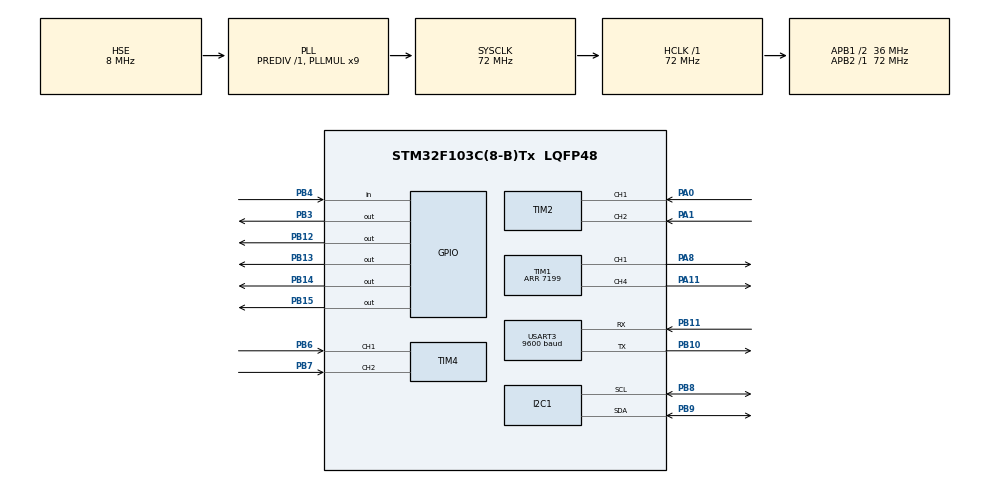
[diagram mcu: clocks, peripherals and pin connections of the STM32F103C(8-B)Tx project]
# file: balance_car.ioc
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I2C1.I2C_Mode=I2C_Fast
Mcu.Family=STM32F1
Mcu.Name=STM32F103C(8-B)Tx
Mcu.Package=LQFP48
NVIC.PriorityGroup=NVIC_PRIORITYGROUP_4
NVIC.TIM3_IRQn=true\:1\:0\:true\:false\:true\:true\:true\:true
NVIC.USART3_IRQn=true\:0\:0\:false\:false\:true\:true\:true\:true
PA0-WKUP.Signal=S_TIM2_CH1_ETR
PA1.Signal=S_TIM2_CH2
PA11.Signal=S_TIM1_CH4
PA13.Mode=Serial_Wire
PA13.Signal=SYS_JTMS-SWDIO
PA14.Mode=Serial_Wire
PA14.Signal=SYS_JTCK-SWCLK
PA8.Signal=S_TIM1_CH1
PB10.Mode=Asynchronous
PB10.Signal=USART3_TX
PB11.Mode=Asynchronous
PB11.Signal=USART3_RX
PB12.Signal=GPIO_Output
PB13.Signal=GPIO_Output
PB14.Signal=GPIO_Output
PB15.Signal=GPIO_Output
PB3.Signal=GPIO_Output
PB4.Signal=GPIO_Input
PB6.Signal=S_TIM4_CH1
PB7.Signal=S_TIM4_CH2
PB8.Mode=I2C
PB8.Signal=I2C1_SCL
PB9.Mode=I2C
PB9.Signal=I2C1_SDA
PC14-OSC32_IN.Mode=LSE-External-Oscillator
PC14-OSC32_IN.Signal=RCC_OSC32_IN
PC15-OSC32_OUT.Mode=LSE-External-Oscillator
PC15-OSC32_OUT.Signal=RCC_OSC32_OUT
PD0-OSC_IN.Mode=HSE-External-Oscillator
PD0-OSC_IN.Signal=RCC_OSC_IN
PD1-OSC_OUT.Mode=HSE-External-Oscillator
PD1-OSC_OUT.Signal=RCC_OSC_OUT
ProjectManager.HeapSize=0x200
ProjectManager.StackSize=0x400
ProjectManager.TargetToolchain=STM32CubeIDE
RCC.AHBFreq_Value=72000000
RCC.APB1CLKDivider=RCC_HCLK_DIV2
RCC.APB1Freq_Value=36000000
RCC.APB1TimFreq_Value=72000000
RCC.APB2Freq_Value=72000000
RCC.APB2TimFreq_Value=72000000
RCC.HCLKFreq_Value=72000000
RCC.PLLMUL=RCC_PLL_MUL9
RCC.PLLSourceVirtual=RCC_PLLSOURCE_HSE
RCC.SYSCLKFreq_VALUE=72000000
RCC.SYSCLKSource=RCC_SYSCLKSOURCE_PLLCLK
RCC.USBFreq_Value=72000000
SH.S_TIM1_CH1.0=TIM1_CH1,PWM Generation1 CH1
SH.S_TIM1_CH4.0=TIM1_CH4,PWM Generation4 CH4
SH.S_TIM2_CH1_ETR.0=TIM2_CH1,Encoder_Interface
SH.S_TIM2_CH2.0=TIM2_CH2,Encoder_Interface
SH.S_TIM4_CH1.0=TIM4_CH1,Encoder_Interface
SH.S_TIM4_CH2.0=TIM4_CH2,Encoder_Interface
TIM1.Channel-PWM\ Generation1\ CH1=TIM_CHANNEL_1
TIM1.Channel-PWM\ Generation4\ CH4=TIM_CHANNEL_4
TIM1.Period=7199
TIM2.EncoderMode=TIM_ENCODERMODE_TI12
TIM2.IC1Filter=0
TIM2.IC2Filter=0
TIM3.Period=4999
TIM3.Prescaler=35
TIM4.EncoderMode=TIM_ENCODERMODE_TI12
TIM4.IC1Filter=0
TIM4.IC2Filter=0
USART3.BaudRate=9600
USART3.VirtualMode=VM_ASYNC
VP_TIM3_VS_ClockSourceINT.Mode=Internal
board=custom

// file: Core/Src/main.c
/* USER CODE BEGIN Header */
/**
  ******************************************************************************
  * @file           : main.c
  * @brief          : Main program body
  ******************************************************************************
  * @attention
  *
  * Copyright (c) 2025 STMicroelectronics.
  * All rights reserved.
  *
  * This software is licensed under terms that can be found in the LICENSE file
  * in the root directory of this software component.
  * If no LICENSE file comes with this software, it is provided AS-IS.
  *
  ******************************************************************************
  */
/* USER CODE END Header */
#include "main.h"
#include "i2c.h"
#include "tim.h"
#include "usart.h"
#include "gpio.h"

/* USER CODE BEGIN Includes */
#include "oled.h"
#include "font.h"
#include "IIC.h"
#include "inv_mpu.h"
#include "inv_mpu_dmp_motion_driver.h"
#include "mpu6050.h"
#include "motor.h"
#include "stdio.h"
#include "pid.h"
/* USER CODE END Includes */

/* USER CODE BEGIN PV */
uint8_t uart_rx[2];
uint8_t str_oled[20];
uint8_t str1[20] = "PID";
float pitch, roll , yaw;
short gyrox, gyroy, gyroz;
int encoder_left , encoder_right;
int encoder_sum;
int move;
int flag;
/* USER CODE END PV */

void SystemClock_Config(void);

/* USER CODE BEGIN 0 */
void HAL_TIM_PeriodElapsedCallback(TIM_HandleTypeDef *htim)
  {
	  if(htim == &htim3)
	  {
	   mpu_dmp_get_data(&pitch, &roll, &yaw);
	   MPU_Get_Gyroscope(&gyrox, &gyroy, gyroz);
	   encoder_left=encoder_read(&htim2);
	   encoder_right=-encoder_read(&htim4);
	   encoder_sum = encoder_left+encoder_right;
	   if(flag==0)
	   {
		control(move);
	   }
	   else if(flag==1)
	   {
		turn(move);
	   }
	  }
	  HAL_TIM_Base_Start_IT(&htim3);
  }
void HAL_UART_RxCpltCallback(UART_HandleTypeDef *huart)
{
	if(huart==&huart3)
	{
		  switch(uart_rx[0])
		  {
		  case 0x00:
		  {
		      flag = 0;
			  move = 0;
		      break;
		  }
		  case 0x01:
		  {
			  flag = 0;
			  move = 3;
			  break;
		  }
		  case 0x02:
		  {
			  flag = 0;
			  move = 5;
			  break;
		  }
		  case 0x03:
		  {
			  flag = 0;
			  move = 7;
			  break;
		  }
		  case 0x04:
		  {
			  flag = 1;
			  move = 3;
			  break;
		  }
		  case 0x05:
		  {
			  flag = 1;
			  move = 5;
			  break;
		  }
		  case 0x06:
		  {
			  flag = 1;
			  move = 7;
			  break;
		  }
		  }
		  HAL_UART_Receive_IT(&huart3, uart_rx, 1);
	}
}

/* USER CODE END 0 */

int main(void)
{

  /* MCU Configuration--------------------------------------------------------*/

  /* Reset of all peripherals, Initializes the Flash interface and the Systick. */
  HAL_Init();

  /* Configure the system clock */
  SystemClock_Config();

  /* Initialize all configured peripherals */
  MX_GPIO_Init();
  MX_I2C1_Init();
  MX_TIM1_Init();
  MX_TIM2_Init();
  MX_TIM3_Init();
  MX_TIM4_Init();
  MX_USART3_UART_Init();
  /* USER CODE BEGIN 2 */
  //HAL_Delay(20);
  //OLED_Init();
  MPU_Init();
  mpu_dmp_init();
  /*OLED_NewFrame();
  OLED_PrintString(0, 0, (char*)str1,&font16x16, OLED_COLOR_NORMAL);
  OLED_ShowFrame();*/
  HAL_TIM_PWM_Start(&htim1, TIM_CHANNEL_4);
  HAL_TIM_PWM_Start(&htim1, TIM_CHANNEL_1);
  HAL_TIM_Encoder_Start(&htim2, TIM_CHANNEL_ALL);
  HAL_TIM_Encoder_Start(&htim4, TIM_CHANNEL_ALL);
  PID_Init();
  HAL_TIM_Base_Start_IT(&htim3);
  HAL_UART_Transmit(&huart3, "hello", 6, 0xff);
  HAL_UART_Receive_IT(&huart3, uart_rx, 1);
  /* USER CODE END 2 */

  /* Infinite loop */
  while (1)
  {

  }
}

void SystemClock_Config(void)
{
  RCC_OscInitTypeDef RCC_OscInitStruct = {0};
  RCC_ClkInitTypeDef RCC_ClkInitStruct = {0};

  /** Initializes the RCC Oscillators according to the specified parameters
  * in the RCC_OscInitTypeDef structure.
  */
  RCC_OscInitStruct.OscillatorType = RCC_OSCILLATORTYPE_HSE;
  RCC_OscInitStruct.HSEState = RCC_HSE_ON;
  RCC_OscInitStruct.HSEPredivValue = RCC_HSE_PREDIV_DIV1;
  RCC_OscInitStruct.HSIState = RCC_HSI_ON;
  RCC_OscInitStruct.PLL.PLLState = RCC_PLL_ON;
  RCC_OscInitStruct.PLL.PLLSource = RCC_PLLSOURCE_HSE;
  RCC_OscInitStruct.PLL.PLLMUL = RCC_PLL_MUL9;
  if (HAL_RCC_OscConfig(&RCC_OscInitStruct) != HAL_OK)
  {
    Error_Handler();
  }

  /** Initializes the CPU, AHB and APB buses clocks
  */
  RCC_ClkInitStruct.ClockType = RCC_CLOCKTYPE_HCLK|RCC_CLOCKTYPE_SYSCLK
                              |RCC_CLOCKTYPE_PCLK1|RCC_CLOCKTYPE_PCLK2;
  RCC_ClkInitStruct.SYSCLKSource = RCC_SYSCLKSOURCE_PLLCLK;
  RCC_ClkInitStruct.AHBCLKDivider = RCC_SYSCLK_DIV1;
  RCC_ClkInitStruct.APB1CLKDivider = RCC_HCLK_DIV2;
  RCC_ClkInitStruct.APB2CLKDivider = RCC_HCLK_DIV1;

  if (HAL_RCC_ClockConfig(&RCC_ClkInitStruct, FLASH_LATENCY_2) != HAL_OK)
  {
    Error_Handler();
  }
}

void Error_Handler(void)
{
  __disable_irq();
  while (1)
  {
  }
}
